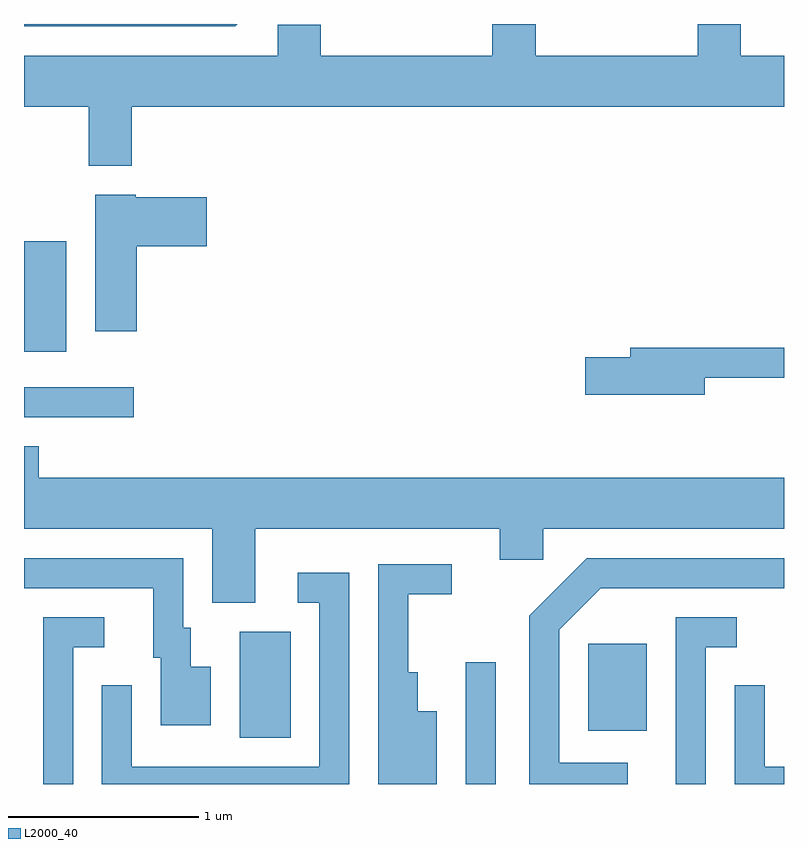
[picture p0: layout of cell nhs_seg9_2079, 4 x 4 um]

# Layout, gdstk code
import gdstk
lib = gdstk.Library(unit=1e-6, precision=1e-09)
def R(c, l, rs):  # rectangles x0, y0, x1, y1
    for r in rs: c.add(gdstk.rectangle(r[:2], r[2:], *l))
def P(c, l, *ps):  # polygons
    for p in ps: c.add(gdstk.Polygon(p, *l))
L2000_40 = (2000, 40)

nhs_seg9_2079 = lib.new_cell('nhs_seg9_2079')
R(nhs_seg9_2079, L2000_40, [(247.936,2030.432,248.094,2031.073), (246.746,2030.676,247.014,2031.234), (248.581,2030.711,248.889,2031.169), (245.611,2032.361,246.188,2032.519), (245.611,2032.706,245.834,2033.289)])
P(nhs_seg9_2079, L2000_40, [(246.733,2034.432),(245.611,2034.432),(245.611,2034.421),(246.722,2034.421)],
  [(246.179,2033.996),(249.611,2033.996),(249.611,2034.264),(249.384,2034.264),(249.384,2034.432),(249.156,2034.432),(249.156,2034.264),(248.304,2034.264),(248.304,2034.432),(248.076,2034.432),(248.076,2034.264),(247.174,2034.264),(247.174,2034.429),(246.946,2034.429),(246.946,2034.264),(245.611,2034.264),(245.611,2033.996),(245.951,2033.996),(245.951,2033.686),(246.179,2033.686)],
  [(246.204,2033.261),(246.574,2033.261),(246.574,2033.519),(246.2,2033.519),(246.2,2033.534),(245.986,2033.534),(245.986,2032.816),(246.204,2032.816)],
  [(249.194,2032.571),(249.611,2032.571),(249.611,2032.729),(248.801,2032.729),(248.801,2032.679),(248.566,2032.679),(248.566,2032.481),(249.194,2032.481)],
  [(245.689,2032.209),(245.611,2032.209),(245.611,2031.776),(246.601,2031.776),(246.601,2031.386),(246.829,2031.386),(246.829,2031.776),(248.116,2031.776),(248.116,2031.611),(248.344,2031.611),(248.344,2031.776),(249.611,2031.776),(249.611,2032.044),(245.689,2032.044)],
  [(246.594,2031.049),(246.489,2031.049),(246.489,2031.254),(246.449,2031.254),(246.449,2031.619),(245.611,2031.619),(245.611,2031.461),(246.291,2031.461),(246.291,2031.096),(246.331,2031.096),(246.331,2030.741),(246.594,2030.741)],
  [(248.788,2030.544),(248.429,2030.544),(248.429,2031.244),(248.647,2031.461),(249.611,2031.461),(249.611,2031.619),(248.574,2031.619),(248.271,2031.317),(248.271,2030.432),(248.788,2030.432)],
  [(247.784,2030.814),(247.684,2030.814),(247.684,2031.019),(247.634,2031.019),(247.634,2031.431),(247.863,2031.431),(247.863,2031.589),(247.476,2031.589),(247.476,2030.432),(247.784,2030.432)],
  [(247.324,2031.544),(247.053,2031.544),(247.053,2031.386),(247.166,2031.386),(247.166,2030.524),(246.179,2030.524),(246.179,2030.953),(246.021,2030.953),(246.021,2030.432),(247.324,2030.432)],
  [(249.199,2031.151),(249.363,2031.151),(249.363,2031.309),(249.041,2031.309),(249.041,2030.432),(249.199,2030.432)],
  [(245.869,2031.151),(246.033,2031.151),(246.033,2031.309),(245.711,2031.309),(245.711,2030.432),(245.869,2030.432)],
  [(249.611,2030.524),(249.509,2030.524),(249.509,2030.953),(249.351,2030.953),(249.351,2030.432),(249.611,2030.432)])

lib.write_gds('nhs_seg9_2079.gds')
